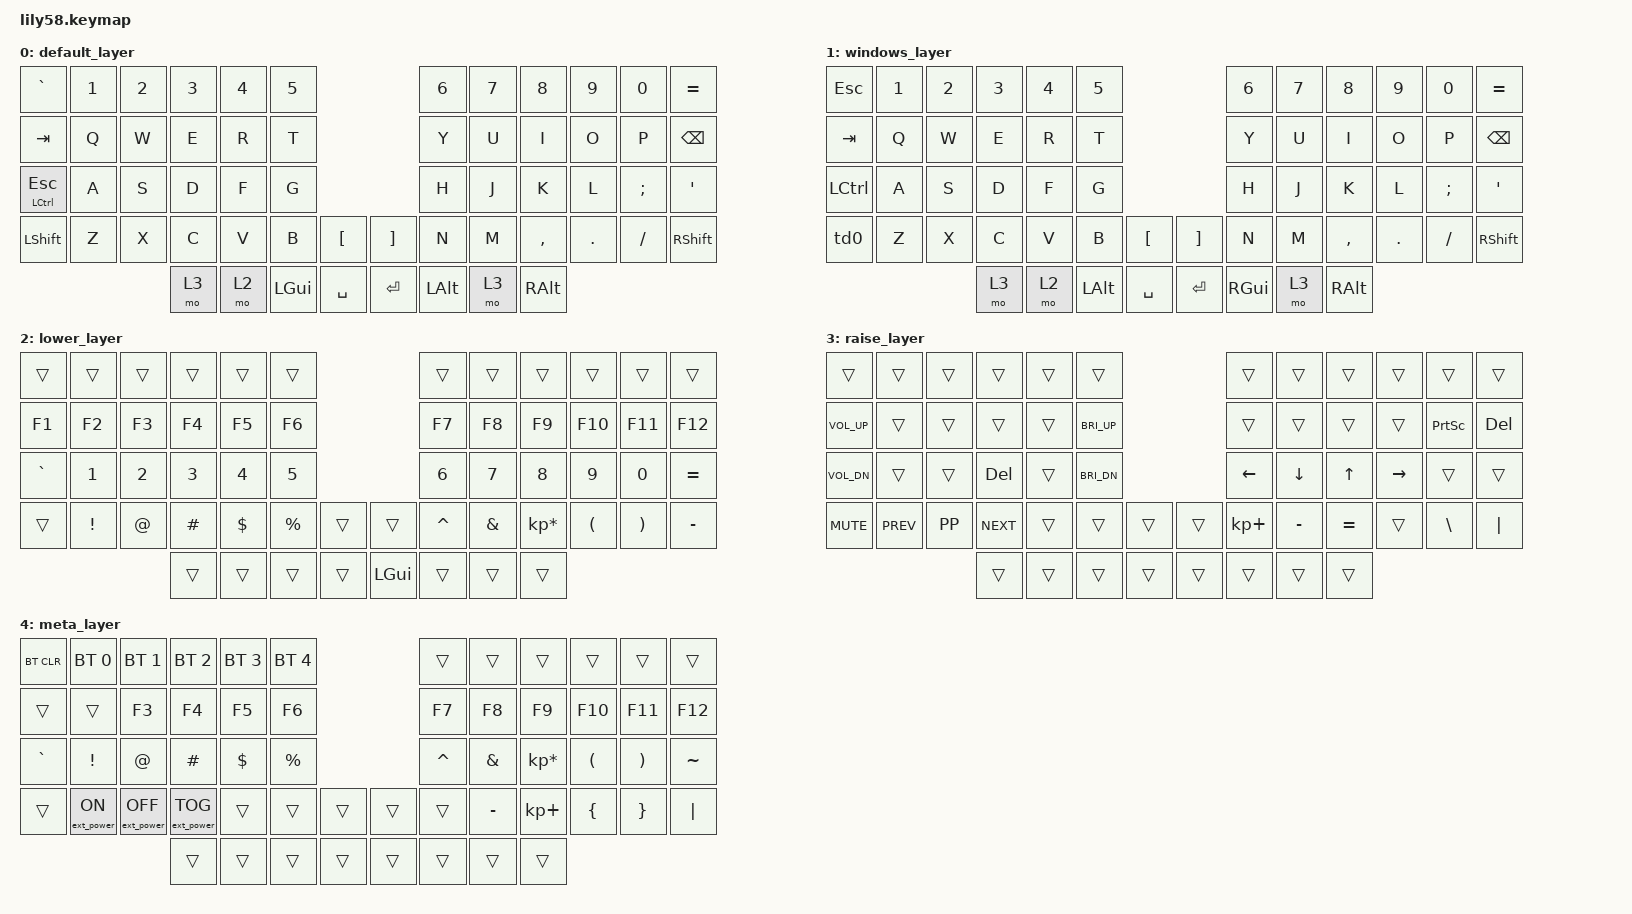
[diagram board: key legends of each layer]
/*
 * Copyright (c) 2020 The ZMK Contributors
 *
 * SPDX-License-Identifier: MIT
 */

#include <behaviors.dtsi>
#include <dt-bindings/zmk/keys.h>
#include <dt-bindings/zmk/bt.h>
#include <dt-bindings/zmk/ext_power.h>

#define DEFAULT 0
#define WIN     1
#define LOWER   2
#define RAISE   3
#define META    4

/ {
    combos {
      compatible = "zmk,combos";
      combo_conf_layer {
          timeout-ms = <200>;
          key-positions = <51 56>;
          bindings = <&mo 4>;
      };

      combo_win_layer {
          timeout-ms = <200>;
          key-positions = <51 56 57>;
          layers = <0 1>;
          bindings = <&tog 1>;
      };
    };

    behaviors {
        td0: tap_dance_0 {
            compatible = "zmk,behavior-tap-dance";
            #binding-cells = <0>;
            tapping-term-ms = <200>;
            bindings = <&kp LSHFT>, <&kp CAPS>;
        };
    };

    keymap {
        compatible = "zmk,keymap";

        default_layer {
            bindings = <
//    ┌─────────────┬───┬───┬──────┬──────┬──────┐               ┌──────┬──────┬──────┬───┬───┬──────┐
//    │      `      │ 1 │ 2 │  3   │  4   │  5   │               │  6   │  7   │  8   │ 9 │ 0 │  =   │
//    ├─────────────┼───┼───┼──────┼──────┼──────┤               ├──────┼──────┼──────┼───┼───┼──────┤
//    │     tab     │ Q │ W │  E   │  R   │  T   │               │  Y   │  U   │  I   │ O │ P │ bspc │
//    ├─────────────┼───┼───┼──────┼──────┼──────┤               ├──────┼──────┼──────┼───┼───┼──────┤
//    │ mt lctl esc │ A │ S │  D   │  F   │  G   │               │  H   │  J   │  K   │ L │ ; │  '   │
//    ├─────────────┼───┼───┼──────┼──────┼──────┼─────┐   ┌─────┼──────┼──────┼──────┼───┼───┼──────┤
//    │    lsft     │ Z │ X │  C   │  V   │  B   │  [  │   │  ]  │  N   │  M   │  ,   │ . │ / │ rsft │
//    └─────────────┴───┴───┼──────┼──────┼──────┼─────┤   ├─────┼──────┼──────┼──────┼───┴───┴──────┘
//                          │ mo 3 │ mo 2 │ lgui │ spc │   │ ent │ lalt │ mo 3 │ ralt │
//                          └──────┴──────┴──────┴─────┘   └─────┴──────┴──────┴──────┘
  &kp GRAVE       &kp N1   &kp N2   &kp N3   &kp N4   &kp N5                                &kp N6     &kp N7   &kp N8      &kp N9    &kp N0     &kp EQUAL
  &kp TAB         &kp Q    &kp W    &kp E    &kp R    &kp T                                 &kp Y      &kp U    &kp I       &kp O     &kp P      &kp BSPC
  &mt LCTRL ESC   &kp A    &kp S    &kp D    &kp F    &kp G                                 &kp H      &kp J    &kp K       &kp L     &kp SEMI   &kp SQT
  &kp LSHFT       &kp Z    &kp X    &kp C    &kp V    &kp B      &kp LBKT        &kp RBKT   &kp N      &kp M    &kp COMMA   &kp DOT   &kp FSLH   &kp RSHFT
                                    &mo 3    &mo 2    &kp LGUI   &kp SPACE       &kp RET    &kp LALT   &mo 3    &kp RALT
            >;
        };


        windows_layer {
            bindings = <
//    ┌──────┬───┬───┬──────┬──────┬──────┐               ┌──────┬──────┬──────┬───┬───┬──────┐
//    │ esc  │ 1 │ 2 │  3   │  4   │  5   │               │  6   │  7   │  8   │ 9 │ 0 │  =   │
//    ├──────┼───┼───┼──────┼──────┼──────┤               ├──────┼──────┼──────┼───┼───┼──────┤
//    │ tab  │ Q │ W │  E   │  R   │  T   │               │  Y   │  U   │  I   │ O │ P │ bspc │
//    ├──────┼───┼───┼──────┼──────┼──────┤               ├──────┼──────┼──────┼───┼───┼──────┤
//    │ lctl │ A │ S │  D   │  F   │  G   │               │  H   │  J   │  K   │ L │ ; │  '   │
//    ├──────┼───┼───┼──────┼──────┼──────┼─────┐   ┌─────┼──────┼──────┼──────┼───┼───┼──────┤
//    │ &td0 │ Z │ X │  C   │  V   │  B   │  [  │   │  ]  │  N   │  M   │  ,   │ . │ / │ rsft │
//    └──────┴───┴───┼──────┼──────┼──────┼─────┤   ├─────┼──────┼──────┼──────┼───┴───┴──────┘
//                   │ mo 3 │ mo 2 │ lalt │ spc │   │ ent │ rgui │ mo 3 │ ralt │
//                   └──────┴──────┴──────┴─────┘   └─────┴──────┴──────┴──────┘
  &kp ESC     &kp N1   &kp N2   &kp N3   &kp N4   &kp N5                                &kp N6     &kp N7   &kp N8      &kp N9    &kp N0     &kp EQUAL
  &kp TAB     &kp Q    &kp W    &kp E    &kp R    &kp T                                 &kp Y      &kp U    &kp I       &kp O     &kp P      &kp BSPC
  &kp LCTRL   &kp A    &kp S    &kp D    &kp F    &kp G                                 &kp H      &kp J    &kp K       &kp L     &kp SEMI   &kp SQT
  &td0        &kp Z    &kp X    &kp C    &kp V    &kp B      &kp LBKT        &kp RBKT   &kp N      &kp M    &kp COMMA   &kp DOT   &kp FSLH   &kp RSHFT
                                &mo 3    &mo 2    &kp LALT   &kp SPACE       &kp RET    &kp RGUI   &mo 3    &kp RALT
            >;
        };

        lower_layer {
            bindings = <
//    ┌─────┬─────┬─────┬─────┬─────┬─────┐                ┌─────┬─────┬─────┬─────┬─────┬─────┐
//    │     │     │     │     │     │     │                │     │     │     │     │     │     │
//    ├─────┼─────┼─────┼─────┼─────┼─────┤                ├─────┼─────┼─────┼─────┼─────┼─────┤
//    │ f1  │ f2  │ f3  │ f4  │ f5  │ f6  │                │ f7  │ f8  │ f9  │ f10 │ f11 │ f12 │
//    ├─────┼─────┼─────┼─────┼─────┼─────┤                ├─────┼─────┼─────┼─────┼─────┼─────┤
//    │  `  │  1  │  2  │  3  │  4  │  5  │                │  6  │  7  │  8  │  9  │  0  │  =  │
//    ├─────┼─────┼─────┼─────┼─────┼─────┼─────┐   ┌──────┼─────┼─────┼─────┼─────┼─────┼─────┤
//    │     │  !  │  @  │  #  │  $  │  %  │     │   │      │  ^  │  &  │  *  │  (  │  )  │  -  │
//    └─────┴─────┴─────┼─────┼─────┼─────┼─────┤   ├──────┼─────┼─────┼─────┼─────┴─────┴─────┘
//                      │     │     │     │     │   │ lgui │     │     │     │
//                      └─────┴─────┴─────┴─────┘   └──────┴─────┴─────┴─────┘
  &trans      &trans     &trans   &trans     &trans       &trans                              &trans      &trans     &trans            &trans     &trans     &trans
  &kp F1      &kp F2     &kp F3   &kp F4     &kp F5       &kp F6                              &kp F7      &kp F8     &kp F9            &kp F10    &kp F11    &kp F12
  &kp GRAVE   &kp N1     &kp N2   &kp N3     &kp N4       &kp N5                              &kp N6      &kp N7     &kp N8            &kp N9     &kp N0     &kp EQUAL
  &trans      &kp EXCL   &kp AT   &kp HASH   &kp DOLLAR   &kp PRCNT   &trans       &trans     &kp CARET   &kp AMPS   &kp KP_MULTIPLY   &kp LPAR   &kp RPAR   &kp MINUS
                                  &trans     &trans       &trans      &trans       &kp LGUI   &trans      &trans     &trans
            >;
        };


        raise_layer {
            bindings = <
//    ┌──────┬──────┬──────┬──────┬─────┬──────┐               ┌──────┬──────┬─────┬──────┬──────┬─────┐
//    │      │      │      │      │     │      │               │      │      │     │      │      │     │
//    ├──────┼──────┼──────┼──────┼─────┼──────┤               ├──────┼──────┼─────┼──────┼──────┼─────┤
//    │ vol+ │      │      │      │     │ bri+ │               │      │      │     │      │ pscr │ del │
//    ├──────┼──────┼──────┼──────┼─────┼──────┤               ├──────┼──────┼─────┼──────┼──────┼─────┤
//    │ vol- │      │      │ del  │     │ bri- │               │ left │ down │ up  │ rght │      │     │
//    ├──────┼──────┼──────┼──────┼─────┼──────┼─────┐   ┌─────┼──────┼──────┼─────┼──────┼──────┼─────┤
//    │ mute │ prev │ play │ next │     │      │     │   │     │  +   │  -   │  =  │      │  \   │  |  │
//    └──────┴──────┴──────┼──────┼─────┼──────┼─────┤   ├─────┼──────┼──────┼─────┼──────┴──────┴─────┘
//                         │      │     │      │     │   │     │      │      │     │
//                         └──────┴─────┴──────┴─────┘   └─────┴──────┴──────┴─────┘
  &trans         &trans       &trans     &trans       &trans   &trans                               &trans        &trans      &trans      &trans      &trans      &trans
  &kp K_VOL_UP   &trans       &trans     &trans       &trans   &kp C_BRI_UP                         &trans        &trans      &trans      &trans      &kp PSCRN   &kp DEL
  &kp K_VOL_DN   &trans       &trans     &kp DEL      &trans   &kp C_BRI_DN                         &kp LEFT      &kp DOWN    &kp UP      &kp RIGHT   &trans      &trans
  &kp K_MUTE     &kp K_PREV   &kp K_PP   &kp K_NEXT   &trans   &trans         &trans       &trans   &kp KP_PLUS   &kp MINUS   &kp EQUAL   &trans      &kp BSLH    &kp PIPE
                                         &trans       &trans   &trans         &trans       &trans   &trans        &trans      &trans
            >;
        };

        meta_layer {
            bindings = <
//    ┌────────┬──────────┬──────────┬───────────┬──────────┬──────────┐               ┌─────┬─────┬─────┬─────┬─────┬─────┐
//    │ bt_clr │ bt_sel 0 │ bt_sel 1 │ bt_sel 2  │ bt_sel 3 │ bt_sel 4 │               │     │     │     │     │     │     │
//    ├────────┼──────────┼──────────┼───────────┼──────────┼──────────┤               ├─────┼─────┼─────┼─────┼─────┼─────┤
//    │        │          │    f3    │    f4     │    f5    │    f6    │               │ f7  │ f8  │ f9  │ f10 │ f11 │ f12 │
//    ├────────┼──────────┼──────────┼───────────┼──────────┼──────────┤               ├─────┼─────┼─────┼─────┼─────┼─────┤
//    │   `    │    !     │    @     │     #     │    $     │    %     │               │  ^  │  &  │  *  │  (  │  )  │  ~  │
//    ├────────┼──────────┼──────────┼───────────┼──────────┼──────────┼─────┐   ┌─────┼─────┼─────┼─────┼─────┼─────┼─────┤
//    │        │ epwr_ on │ epwr_ on │ epwr_ tog │          │          │     │   │     │     │  -  │  +  │  {  │  }  │  |  │
//    └────────┴──────────┴──────────┼───────────┼──────────┼──────────┼─────┤   ├─────┼─────┼─────┼─────┼─────┴─────┴─────┘
//                                   │           │          │          │     │   │     │     │     │     │
//                                   └───────────┴──────────┴──────────┴─────┘   └─────┴─────┴─────┴─────┘
  &bt BT_CLR   &bt BT_SEL 0       &bt BT_SEL 1        &bt BT_SEL 2        &bt BT_SEL 3   &bt BT_SEL 4                         &trans      &trans      &trans            &trans     &trans     &trans
  &trans       &trans             &kp F3              &kp F4              &kp F5         &kp F6                               &kp F7      &kp F8      &kp F9            &kp F10    &kp F11    &kp F12
  &kp GRAVE    &kp EXCL           &kp AT              &kp HASH            &kp DOLLAR     &kp PRCNT                            &kp CARET   &kp AMPS    &kp KP_MULTIPLY   &kp LPAR   &kp RPAR   &kp TILDE
  &trans       &ext_power EP_ON   &ext_power EP_OFF   &ext_power EP_TOG   &trans         &trans         &trans       &trans   &trans      &kp MINUS   &kp KP_PLUS       &kp LBRC   &kp RBRC   &kp PIPE
                                                      &trans              &trans         &trans         &trans       &trans   &trans      &trans      &trans
            >;
        };


/* 
*         template_layer {
*            // ------------------------------------------------------------------------------------------------------------
*            // |             |          |          |           |           |           |                      |           |            |            |           |            |            |
*            // |             |          |          |           |           |           |                      |           |            |            |           |            |            |
*            // |             |          |          |           |           |           |                      |           |            |            |           |            |            |
*            // |             |          |          |           |           |           |        |   |         |           |            |            |           |            |            |
*            //                                                   |      |       |     |         |   |          |        |        |        |
*
*/
//       tempate_layer {
//         bindings = <
//    ┌─────────────┬───┬───┬──────┬──────┬──────┐               ┌──────┬──────┬──────┬───┬───┬──────┐
//    │      `      │ 1 │ 2 │  3   │  4   │  5   │               │  6   │  7   │  8   │ 9 │ 0 │  =   │
//    ├─────────────┼───┼───┼──────┼──────┼──────┤               ├──────┼──────┼──────┼───┼───┼──────┤
//    │     tab     │ Q │ W │  E   │  R   │  T   │               │  Y   │  U   │  I   │ O │ P │  -   │
//    ├─────────────┼───┼───┼──────┼──────┼──────┤               ├──────┼──────┼──────┼───┼───┼──────┤
//    │ mt lctl esc │ A │ S │  D   │  F   │  G   │               │  H   │  J   │  K   │ L │ ; │  '   │
//    ├─────────────┼───┼───┼──────┼──────┼──────┼─────┐   ┌─────┼──────┼──────┼──────┼───┼───┼──────┤
//    │    lsft     │ Z │ X │  C   │  V   │  B   │  [  │   │  ]  │  N   │  M   │  ,   │ . │ / │ rsft │
//    └─────────────┴───┴───┼──────┼──────┼──────┼─────┤   ├─────┼──────┼──────┼──────┼───┴───┴──────┘
//                          │ lalt │ mo 1 │ lgui │ spc │   │ ent │ bspc │ mo 2 │ ralt │               
//                          └──────┴──────┴──────┴─────┘   └─────┴──────┴──────┴──────┘               
// &kp GRAVE       &kp N1   &kp N2   &kp N3     &kp N4   &kp N5                                &kp N6     &kp N7   &kp N8      &kp N9    &kp N0     &kp EQUAL
// &kp TAB         &kp Q    &kp W    &kp E      &kp R    &kp T                                 &kp Y      &kp U    &kp I       &kp O     &kp P      &kp MINUS
// &mt LCTRL ESC   &kp A    &kp S    &kp D      &kp F    &kp G                                 &kp H      &kp J    &kp K       &kp L     &kp SEMI   &kp SQT  
// &kp LSHFT       &kp Z    &kp X    &kp C      &kp V    &kp B      &kp LBKT        &kp RBKT   &kp N      &kp M    &kp COMMA   &kp DOT   &kp FSLH   &kp RSHFT
//                                   &kp LALT   &mo 2    &kp LGUI   &kp SPACE       &kp RET    &kp BSPC   &mo 3    &kp RALT                                  
//          >;
//      };
  };
};

